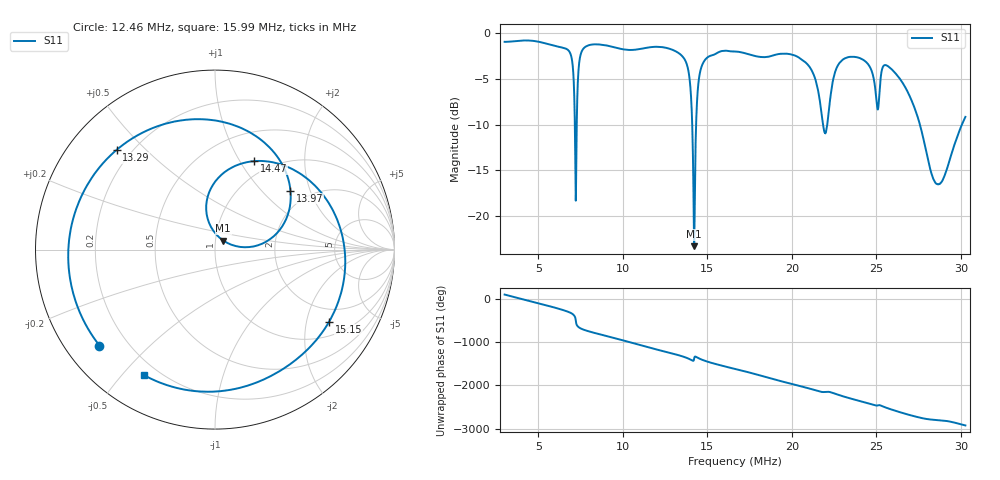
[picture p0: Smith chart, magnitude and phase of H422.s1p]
# HZ S RI R 50
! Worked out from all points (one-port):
!   2727 points, 3 MHz to 30.27 MHz, reference 50 ohm
!   lowest |S11| = -23.3 dB at 14.21 MHz (marker M1), VSWR 1.15, Z = 54.5 + j5.56 ohm
!   |S11| at or under -10 dB: 14.1 MHz to 14.33 MHz (229.3 kHz wide, 1.61 % of centre); 21.85 MHz to 22.09 MHz (248.8 kHz wide, 1.13 % of centre); 27.58 MHz to 30.06 MHz (2.481 MHz wide, 8.61 % of centre)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
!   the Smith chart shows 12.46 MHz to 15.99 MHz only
!   S11 on the Smith chart (normalised r, x): 12.46 MHz: 0.10, -0.36; 13.29 MHz: 0.14, +0.41; 13.97 MHz: 1.61, +1.48; 14.47 MHz: 0.83, +1.16; 15.15 MHz: 1.48, -2.73; 15.99 MHz: 0.15, -0.57
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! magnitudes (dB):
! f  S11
! 3 MHz  -0.9
! 6.411 MHz  -1.6
! 6.942 MHz  -2.5
! 7.212 MHz  -18.3
! 7.432 MHz  -3.0
! 7.632 MHz  -1.8
! 9.823 MHz  -1.7
! 12.46 MHz  -1.6
! 13.23 MHz  -2.1
! 13.29 MHz  -2.2
! 13.97 MHz  -5.5
! 14.21 MHz  -23.3
! 14.29 MHz  -12.9
! 14.47 MHz  -5.4
! 15.15 MHz  -2.5
! 15.99 MHz  -1.9
! 16.64 MHz  -2.0
! 20.05 MHz  -2.3
! 21.26 MHz  -4.4
! 21.97 MHz  -10.9
! 22.6 MHz  -4.0
! 23.46 MHz  -2.6
! 24.57 MHz  -3.5
! 25.06 MHz  -8.2
! 25.52 MHz  -3.5
! 26.87 MHz  -6.5
! 28.59 MHz  -16.5
! 30.27 MHz  -9.1
